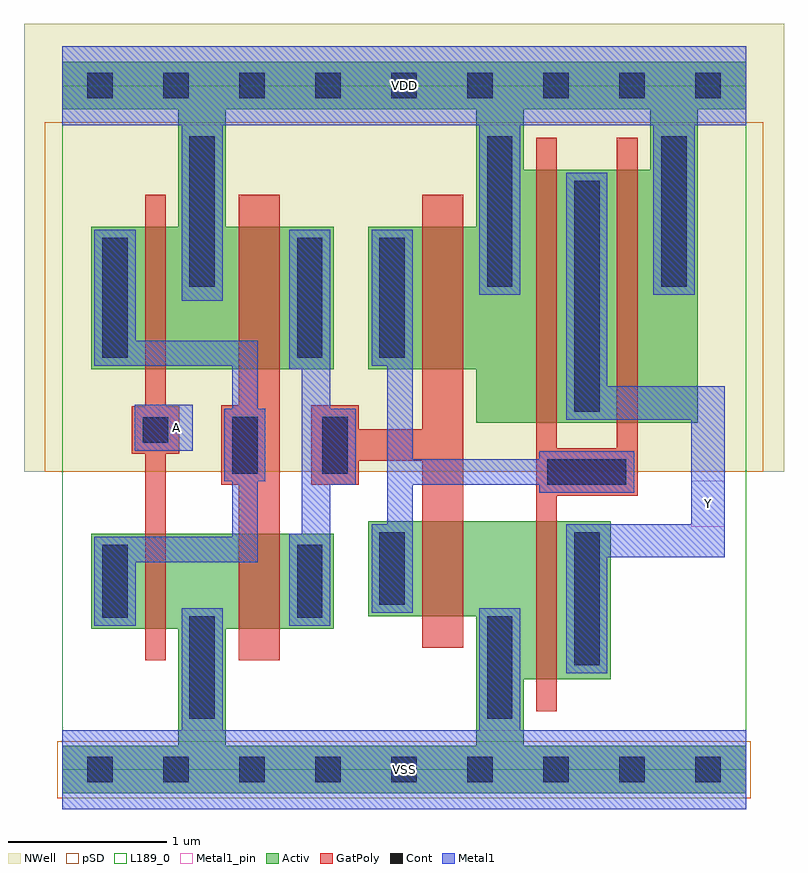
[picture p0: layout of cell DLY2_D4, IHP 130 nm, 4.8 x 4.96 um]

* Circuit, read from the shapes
.subckt DLY2_D4 A VDD VSS Y
XM1 VSS A n1 VSS sg13_lv_nmos w=0.6u l=0.13u
XM2 n2 n1 VSS VSS sg13_lv_nmos w=0.6u l=0.26u
XM3 VSS n2 n3 VSS sg13_lv_nmos w=0.6u l=0.26u
XM4 Y n3 VSS VSS sg13_lv_nmos w=1u l=0.13u
XM5 VDD A n1 VDD sg13_lv_pmos w=0.9u l=0.13u
XM6 n2 n1 VDD VDD sg13_lv_pmos w=0.9u l=0.26u
XM7 VDD n2 n3 VDD sg13_lv_pmos w=0.9u l=0.26u
XM8 Y n3 VDD VDD sg13_lv_pmos w=1.6u l=0.13u m=2
.ends

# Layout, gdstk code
import gdstk
lib = gdstk.Library(unit=1e-6, precision=1e-09)
def R(c, l, rs):  # rectangles x0, y0, x1, y1
    for r in rs: c.add(gdstk.rectangle(r[:2], r[2:], *l))
def A(c, l, x, y, w, h, nx, ny, dx, dy):  # array of equal rectangles
    R(c, l, [(x+i*dx, y+j*dy, x+i*dx+w, y+j*dy+h) for i in range(nx) for j in range(ny)])
def P(c, l, *ps):  # polygons
    for p in ps: c.add(gdstk.Polygon(p, *l))
Activ = (1, 0)
GatPoly = (5, 0)
Cont = (6, 0)
Metal1 = (8, 0)
Metal1_pin = (8, 2)
pSD = (14, 0)
NWell = (31, 0)
L189_0 = (189, 0)

dly2_d4 = lib.new_cell('DLY2_D4')
P(dly2_d4, Activ, [(0,-0.15),(0,0.15),(0.735,0.15),(0.735,0.89),(0.185,0.89),(0.185,1.49),(1.715,1.49),(1.715,0.89),(1.035,0.89),(1.035,0.15),(2.615,0.15),(2.615,0.97),(1.935,0.97),(1.935,1.57),(3.465,1.57),(3.465,0.57),(2.915,0.57),(2.915,0.15),(4.32,0.15),(4.32,-0.15)],
  [(2.615,2.19),(2.615,2.53),(1.935,2.53),(1.935,3.43),(2.615,3.43),(2.615,4.17),(2.915,4.17),(2.915,3.79),(3.715,3.79),(3.715,4.17),(1.035,4.17),(1.035,3.43),(1.715,3.43),(1.715,2.53),(0.185,2.53),(0.185,3.43),(0.735,3.43),(0.735,4.17),(0,4.17),(0,4.47),(4.32,4.47),(4.32,4.17),(4.015,4.17),(4.015,2.19)])
P(dly2_d4, GatPoly, [(0.525,0.69),(0.525,1.995),(0.44,1.995),(0.44,2.295),(0.525,2.295),(0.525,3.63),(0.655,3.63),(0.655,2.295),(0.74,2.295),(0.74,1.995),(0.655,1.995),(0.655,0.69)],
  [(1.115,0.69),(1.115,1.8),(1.005,1.8),(1.005,2.3),(1.115,2.3),(1.115,3.63),(1.375,3.63),(1.375,0.69)],
  [(2.275,0.77),(2.275,1.95),(1.875,1.95),(1.875,1.8),(1.575,1.8),(1.575,2.3),(1.875,2.3),(1.875,2.15),(2.275,2.15),(2.275,3.63),(2.535,3.63),(2.535,0.77)],
  [(2.995,0.37),(2.995,3.99),(3.125,3.99),(3.125,2.03),(3.505,2.03),(3.505,3.99),(3.635,3.99),(3.635,1.73),(3.125,1.73),(3.125,0.37)])
A(dly2_d4, Cont, 0.16, -0.08, 0.16, 0.16, 9, 2, 0.48, 4.32)
R(dly2_d4, Cont, [(0.805,0.32,0.965,0.97), (2.685,0.32,2.845,0.97), (3.235,0.66,3.395,1.5), (0.255,0.96,0.415,1.42), (1.485,0.96,1.645,1.42), (2.005,1.04,2.165,1.5), (3.065,1.8,3.565,1.96), (1.075,1.87,1.235,2.23), (1.645,1.87,1.805,2.23), (0.51,2.065,0.67,2.225), (3.235,2.26,3.395,3.72), (0.255,2.6,0.415,3.36), (1.485,2.6,1.645,3.36), (2.005,2.6,2.165,3.36), (0.805,3.05,0.965,4), (2.685,3.05,2.845,4), (3.785,3.05,3.945,4)])
R(dly2_d4, Metal1, [(0.46,2.015,0.825,2.305)])
P(dly2_d4, Metal1, [(0,-0.25),(0,0.25),(0.755,0.25),(0.755,1.02),(1.015,1.02),(1.015,0.25),(2.635,0.25),(2.635,1.02),(2.895,1.02),(2.895,0.25),(4.32,0.25),(4.32,-0.25)],
  [(0.205,0.91),(0.205,1.47),(1.075,1.47),(1.075,1.82),(1.025,1.82),(1.025,2.28),(1.075,2.28),(1.075,2.55),(0.205,2.55),(0.205,3.41),(0.465,3.41),(0.465,2.71),(1.235,2.71),(1.235,2.28),(1.285,2.28),(1.285,1.82),(1.235,1.82),(1.235,1.31),(0.465,1.31),(0.465,0.91)],
  [(1.435,0.91),(1.435,1.49),(1.515,1.49),(1.515,2.53),(1.435,2.53),(1.435,3.41),(1.695,3.41),(1.695,2.28),(1.855,2.28),(1.855,1.8),(1.695,1.8),(1.695,0.91)],
  [(1.955,0.99),(1.955,1.55),(2.055,1.55),(2.055,2.55),(1.955,2.55),(1.955,3.41),(2.215,3.41),(2.215,1.96),(3.015,1.96),(3.015,2.01),(3.615,2.01),(3.615,1.75),(3.015,1.75),(3.015,1.8),(2.215,1.8),(2.215,0.99)],
  [(3.185,0.61),(3.185,1.55),(3.975,1.55),(3.975,2.21),(3.185,2.21),(3.185,3.77),(3.445,3.77),(3.445,2.42),(4.185,2.42),(4.185,1.34),(3.445,1.34),(3.445,0.61)],
  [(0.755,2.96),(0.755,4.07),(0,4.07),(0,4.57),(4.32,4.57),(4.32,4.07),(3.995,4.07),(3.995,3),(3.735,3),(3.735,4.07),(2.895,4.07),(2.895,3),(2.635,3),(2.635,4.07),(1.015,4.07),(1.015,2.96)])
R(dly2_d4, Metal1_pin, [(0,-0.25,4.32,0.25), (3.975,1.535,4.185,1.825), (0.615,2.015,0.825,2.305), (0,4.07,4.32,4.57)])
R(dly2_d4, pSD, [(-0.03,-0.18,4.35,0.18), (-0.11,1.88,4.43,4.09)])
R(dly2_d4, NWell, [(-0.24,1.88,4.56,4.71)])
R(dly2_d4, L189_0, [(0,0,4.32,4.32)])
dly2_d4.add(gdstk.Label('A', (0.72,2.16), layer=8, texttype=25))
dly2_d4.add(gdstk.Label('Y', (4.08,1.68), layer=8, texttype=25))
dly2_d4.add(gdstk.Label('VDD', (2.16,4.32), layer=8, texttype=25))
dly2_d4.add(gdstk.Label('VSS', (2.16,0), layer=8, texttype=25))

lib.write_gds('DLY2_D4.gds')
